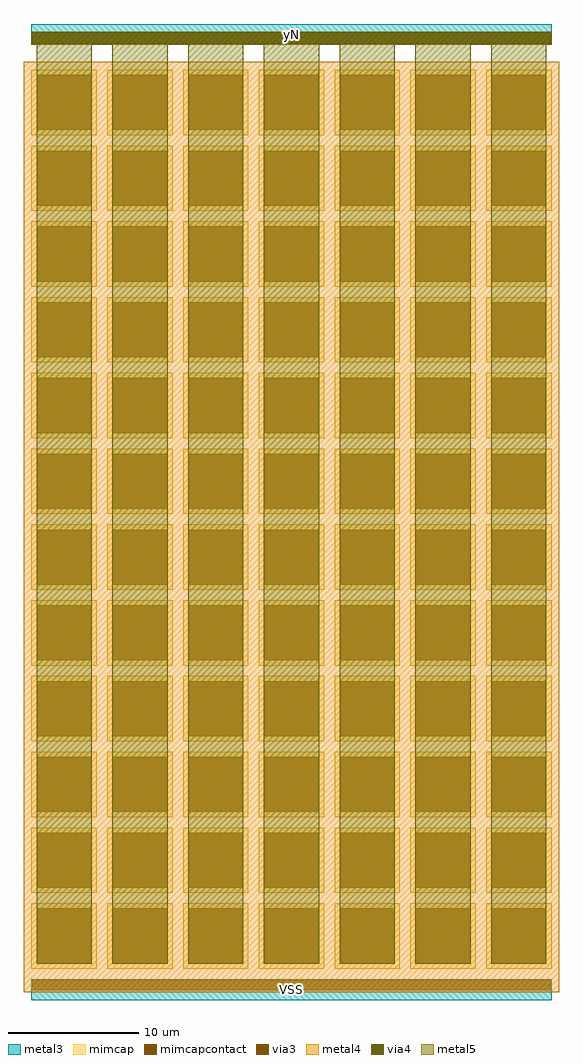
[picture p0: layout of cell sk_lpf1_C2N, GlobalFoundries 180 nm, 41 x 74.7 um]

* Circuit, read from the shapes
.subckt sk_lpf1_C2N yN VSS
XC1 yN VSS cap_mim_2f0fF c_width=5u c_length=5u m=84
.ends

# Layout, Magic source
magic
tech gf180mcuD
magscale 1 10
<< metal3 >>
rect 0 14140 7960 14340
rect 0 14140 7960 14460
rect 0 14140 7960 14460
rect 0 -340 7960 -160
rect 0 -480 7960 -160
rect 0 -480 7960 -160
<< metal4 >>
rect -120 -360 8080 13880
rect 0 14140 7960 14340
rect 0 14140 7960 14340
rect 0 -340 7960 -160
<< mimcap >>
rect 0 0 1000 1000
rect 1160 0 2160 1000
rect 2320 0 3320 1000
rect 3480 0 4480 1000
rect 4640 0 5640 1000
rect 5800 0 6800 1000
rect 6960 0 7960 1000
rect 0 1160 1000 2160
rect 1160 1160 2160 2160
rect 2320 1160 3320 2160
rect 3480 1160 4480 2160
rect 4640 1160 5640 2160
rect 5800 1160 6800 2160
rect 6960 1160 7960 2160
rect 0 2320 1000 3320
rect 1160 2320 2160 3320
rect 2320 2320 3320 3320
rect 3480 2320 4480 3320
rect 4640 2320 5640 3320
rect 5800 2320 6800 3320
rect 6960 2320 7960 3320
rect 0 3480 1000 4480
rect 1160 3480 2160 4480
rect 2320 3480 3320 4480
rect 3480 3480 4480 4480
rect 4640 3480 5640 4480
rect 5800 3480 6800 4480
rect 6960 3480 7960 4480
rect 0 4640 1000 5640
rect 1160 4640 2160 5640
rect 2320 4640 3320 5640
rect 3480 4640 4480 5640
rect 4640 4640 5640 5640
rect 5800 4640 6800 5640
rect 6960 4640 7960 5640
rect 0 5800 1000 6800
rect 1160 5800 2160 6800
rect 2320 5800 3320 6800
rect 3480 5800 4480 6800
rect 4640 5800 5640 6800
rect 5800 5800 6800 6800
rect 6960 5800 7960 6800
rect 0 6960 1000 7960
rect 1160 6960 2160 7960
rect 2320 6960 3320 7960
rect 3480 6960 4480 7960
rect 4640 6960 5640 7960
rect 5800 6960 6800 7960
rect 6960 6960 7960 7960
rect 0 8120 1000 9120
rect 1160 8120 2160 9120
rect 2320 8120 3320 9120
rect 3480 8120 4480 9120
rect 4640 8120 5640 9120
rect 5800 8120 6800 9120
rect 6960 8120 7960 9120
rect 0 9280 1000 10280
rect 1160 9280 2160 10280
rect 2320 9280 3320 10280
rect 3480 9280 4480 10280
rect 4640 9280 5640 10280
rect 5800 9280 6800 10280
rect 6960 9280 7960 10280
rect 0 10440 1000 11440
rect 1160 10440 2160 11440
rect 2320 10440 3320 11440
rect 3480 10440 4480 11440
rect 4640 10440 5640 11440
rect 5800 10440 6800 11440
rect 6960 10440 7960 11440
rect 0 11600 1000 12600
rect 1160 11600 2160 12600
rect 2320 11600 3320 12600
rect 3480 11600 4480 12600
rect 4640 11600 5640 12600
rect 5800 11600 6800 12600
rect 6960 11600 7960 12600
rect 0 12760 1000 13760
rect 1160 12760 2160 13760
rect 2320 12760 3320 13760
rect 3480 12760 4480 13760
rect 4640 12760 5640 13760
rect 5800 12760 6800 13760
rect 6960 12760 7960 13760
<< metal5 >>
rect 78 78 922 14240
rect 1238 78 2082 14240
rect 2398 78 3242 14240
rect 3558 78 4402 14240
rect 4718 78 5562 14240
rect 5878 78 6722 14240
rect 7038 78 7882 14240
rect 0 14140 7960 14340
rect 0 14140 7960 14340
<< via3 >>
rect 10 14150 7950 14330
rect 10 -330 7950 -170
<< via4 >>
rect 10 14150 7950 14330
<< mimcapcontact >>
rect 78 78 922 922
rect 1238 78 2082 922
rect 2398 78 3242 922
rect 3558 78 4402 922
rect 4718 78 5562 922
rect 5878 78 6722 922
rect 7038 78 7882 922
rect 78 1238 922 2082
rect 1238 1238 2082 2082
rect 2398 1238 3242 2082
rect 3558 1238 4402 2082
rect 4718 1238 5562 2082
rect 5878 1238 6722 2082
rect 7038 1238 7882 2082
rect 78 2398 922 3242
rect 1238 2398 2082 3242
rect 2398 2398 3242 3242
rect 3558 2398 4402 3242
rect 4718 2398 5562 3242
rect 5878 2398 6722 3242
rect 7038 2398 7882 3242
rect 78 3558 922 4402
rect 1238 3558 2082 4402
rect 2398 3558 3242 4402
rect 3558 3558 4402 4402
rect 4718 3558 5562 4402
rect 5878 3558 6722 4402
rect 7038 3558 7882 4402
rect 78 4718 922 5562
rect 1238 4718 2082 5562
rect 2398 4718 3242 5562
rect 3558 4718 4402 5562
rect 4718 4718 5562 5562
rect 5878 4718 6722 5562
rect 7038 4718 7882 5562
rect 78 5878 922 6722
rect 1238 5878 2082 6722
rect 2398 5878 3242 6722
rect 3558 5878 4402 6722
rect 4718 5878 5562 6722
rect 5878 5878 6722 6722
rect 7038 5878 7882 6722
rect 78 7038 922 7882
rect 1238 7038 2082 7882
rect 2398 7038 3242 7882
rect 3558 7038 4402 7882
rect 4718 7038 5562 7882
rect 5878 7038 6722 7882
rect 7038 7038 7882 7882
rect 78 8198 922 9042
rect 1238 8198 2082 9042
rect 2398 8198 3242 9042
rect 3558 8198 4402 9042
rect 4718 8198 5562 9042
rect 5878 8198 6722 9042
rect 7038 8198 7882 9042
rect 78 9358 922 10202
rect 1238 9358 2082 10202
rect 2398 9358 3242 10202
rect 3558 9358 4402 10202
rect 4718 9358 5562 10202
rect 5878 9358 6722 10202
rect 7038 9358 7882 10202
rect 78 10518 922 11362
rect 1238 10518 2082 11362
rect 2398 10518 3242 11362
rect 3558 10518 4402 11362
rect 4718 10518 5562 11362
rect 5878 10518 6722 11362
rect 7038 10518 7882 11362
rect 78 11678 922 12522
rect 1238 11678 2082 12522
rect 2398 11678 3242 12522
rect 3558 11678 4402 12522
rect 4718 11678 5562 12522
rect 5878 11678 6722 12522
rect 7038 11678 7882 12522
rect 78 12838 922 13682
rect 1238 12838 2082 13682
rect 2398 12838 3242 13682
rect 3558 12838 4402 13682
rect 4718 12838 5562 13682
rect 5878 12838 6722 13682
rect 7038 12838 7882 13682
<< labels >>
flabel metal3 s 0 14140 7960 14460 0 FreeSans 80 0 0 0 yN
port 1 nsew signal bidirectional
flabel metal3 s 0 -480 7960 -160 0 FreeSans 80 0 0 0 VSS
port 2 nsew signal bidirectional
<< end >>
